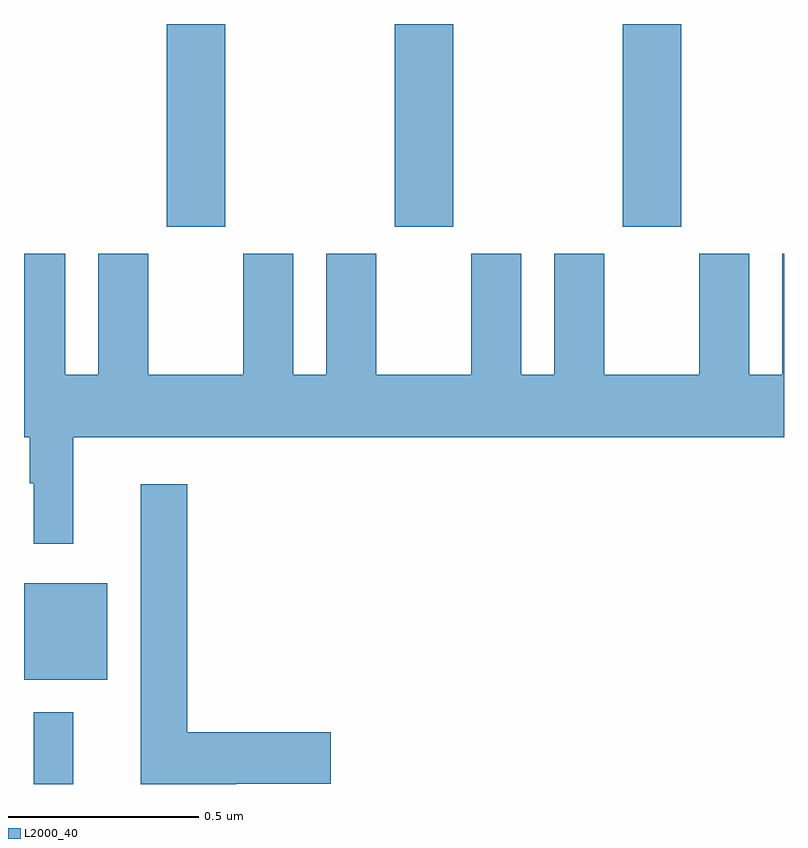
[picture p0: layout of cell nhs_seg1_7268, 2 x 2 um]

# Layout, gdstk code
import gdstk
lib = gdstk.Library(unit=1e-6, precision=1e-09)
def R(c, l, rs):  # rectangles x0, y0, x1, y1
    for r in rs: c.add(gdstk.rectangle(r[:2], r[2:], *l))
def A(c, l, x, y, w, h, nx, ny, dx, dy):  # array of equal rectangles
    R(c, l, [(x+i*dx, y+j*dy, x+i*dx+w, y+j*dy+h) for i in range(nx) for j in range(ny)])
def P(c, l, *ps):  # polygons
    for p in ps: c.add(gdstk.Polygon(p, *l))
L2000_40 = (2000, 40)

nhs_seg1_7268 = lib.new_cell('nhs_seg1_7268')
A(nhs_seg1_7268, L2000_40, 202.375, 505.665, 0.155, 0.534, 3, 1, 0.6, 0)
R(nhs_seg1_7268, L2000_40, [(202.025,504.199,202.129,504.388), (202,504.473,202.219,504.727)])
P(nhs_seg1_7268, L2000_40, [(202.129,505.112),(204,505.112),(204,505.594),(203.996,505.594),(203.996,505.276),(203.908,505.276),(203.908,505.594),(203.777,505.594),(203.777,505.276),(203.527,505.276),(203.527,505.594),(203.396,505.594),(203.396,505.276),(203.308,505.276),(203.308,505.594),(203.177,505.594),(203.177,505.276),(202.927,505.276),(202.927,505.594),(202.796,505.594),(202.796,505.276),(202.708,505.276),(202.708,505.594),(202.577,505.594),(202.577,505.276),(202.327,505.276),(202.327,505.594),(202.196,505.594),(202.196,505.276),(202.108,505.276),(202.108,505.594),(202,505.594),(202,505.112),(202.015,505.112),(202.015,504.991),(202.025,504.991),(202.025,504.831),(202.129,504.831)],
  [(202.558,504.2),(202.807,504.2),(202.807,504.335),(202.429,504.335),(202.429,504.988),(202.307,504.988),(202.307,504.199),(202.558,504.199)])

lib.write_gds('nhs_seg1_7268.gds')
